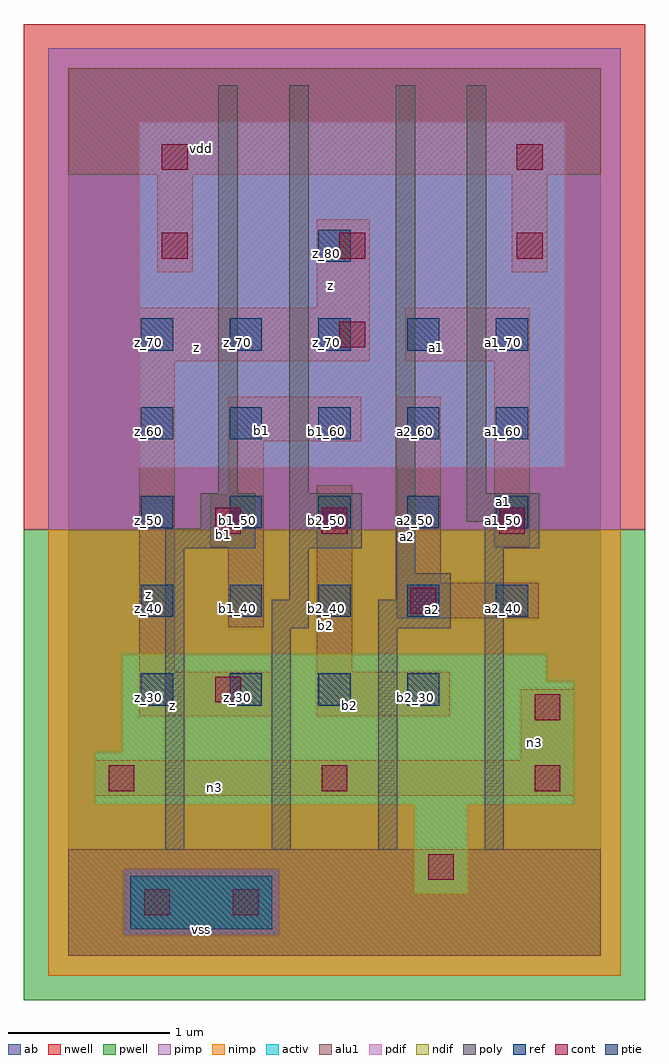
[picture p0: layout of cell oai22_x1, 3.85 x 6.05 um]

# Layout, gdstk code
import gdstk
lib = gdstk.Library(unit=1e-6, precision=2.5e-09)
def R(c, l, rs):  # rectangles x0, y0, x1, y1
    for r in rs: c.add(gdstk.rectangle(r[:2], r[2:], *l))
def A(c, l, x, y, w, h, nx, ny, dx, dy):  # array of equal rectangles
    R(c, l, [(x+i*dx, y+j*dy, x+i*dx+w, y+j*dy+h) for i in range(nx) for j in range(ny)])
ndif = (3, 0)
pdif = (4, 0)
ptie = (6, 0)
ref = (24, 0)
cont = (25, 0)
pwell = (41, 0)
nwell = (42, 0)
activ = (43, 0)
pimp = (44, 0)
nimp = (45, 0)
poly = (46, 0)
alu1 = (49, 0)
ab = (63, 0)

oai22_x1 = lib.new_cell('oai22_x1')
R(oai22_x1, ndif, [(2.145,0.385,2.475,0.935), (0.165,0.935,3.135,1.265), (0.33,1.265,3.135,1.705), (0.33,1.705,2.97,1.87)])
R(oai22_x1, pdif, [(0.44,3.025,3.08,5.17)])
R(oai22_x1, ptie, [(0.385,0.165,1.265,0.495)])
A(oai22_x1, ref, 0.45, 1.55, 0.2, 0.2, 4, 1, 0.55, 0)
A(oai22_x1, ref, 0.45, 2.1, 0.2, 0.2, 5, 4, 0.55, 0.55)
R(oai22_x1, ref, [(1.55,4.3,1.75,4.5)])
A(oai22_x1, cont, 0.25, 1.02, 0.16, 0.16, 3, 1, 1.32, 0)
A(oai22_x1, cont, 0.58, 4.32, 0.16, 0.16, 3, 1, 1.1, 0)
R(oai22_x1, cont, [(0.47,0.25,0.63,0.41), (1.02,0.25,1.18,0.41), (2.23,0.47,2.39,0.63), (2.89,1.46,3.05,1.62), (0.91,1.57,1.07,1.73), (2.12,2.12,2.28,2.28), (0.91,2.615,1.07,2.775), (1.57,2.615,1.73,2.775), (2.67,2.615,2.83,2.775), (1.68,3.77,1.84,3.93), (0.58,4.87,0.74,5.03), (2.78,4.87,2.94,5.03)])
R(oai22_x1, pwell, [(-0.275,-0.275,3.575,2.64)])
R(oai22_x1, nwell, [(-0.275,2.64,3.575,5.775)])
R(oai22_x1, activ, [(0.385,0.165,1.265,0.495), (2.145,0.385,2.475,0.935), (0.165,0.935,3.135,1.265), (0.33,1.265,3.135,1.705), (0.33,1.705,2.97,1.87), (0.44,3.025,3.08,5.17)])
R(oai22_x1, pimp, [(0.345,0.125,1.305,0.535), (-0.125,2.64,3.425,5.625)])
R(oai22_x1, nimp, [(-0.125,-0.125,3.425,0.125), (-0.125,0.125,0.345,0.535), (1.305,0.125,3.425,0.535), (-0.125,0.535,3.425,2.64)])
R(oai22_x1, poly, [(0.6,0.655,0.72,2.525), (1.26,0.655,1.38,2.03), (1.92,0.655,2.04,2.03), (2.58,0.655,2.7,2.525), (1.26,2.03,1.49,2.205), (1.92,2.03,2.37,2.205), (1.37,2.205,1.49,2.525), (2.03,2.205,2.37,2.37), (2.03,2.37,2.15,5.395), (0.6,2.525,1.16,2.645), (1.37,2.525,1.82,2.865), (2.58,2.525,2.92,2.69), (0.82,2.645,1.16,2.865), (2.47,2.69,2.92,2.865), (0.93,2.865,1.05,5.395), (1.37,2.865,1.49,5.395), (2.47,2.865,2.59,5.395)])
R(oai22_x1, alu1, [(0,0,3.3,0.66), (0.165,0.99,3.135,1.21), (2.805,1.21,3.135,1.65), (0.44,1.485,1.265,1.76), (1.54,1.485,2.365,1.76), (0.44,1.76,0.66,3.685), (1.54,1.76,1.76,2.915), (0.99,2.035,1.21,2.53), (2.035,2.09,2.915,2.31), (2.035,2.31,2.31,3.465), (0.88,2.53,1.21,2.86), (2.64,2.53,2.86,3.685), (0.99,2.86,1.21,3.19), (0.99,3.19,1.815,3.465), (0.44,3.685,1.87,4.015), (2.09,3.685,2.86,4.015), (1.54,4.015,1.87,4.565), (0.55,4.235,0.77,4.84), (2.75,4.235,2.97,4.84), (0,4.84,3.3,5.5)])
R(oai22_x1, ab, [(0,0,3.3,5.5)])
oai22_x1.add(gdstk.Label('vss', (0.825,0.165), layer=49, texttype=0))
oai22_x1.add(gdstk.Label('n3', (0.9075,1.045), layer=49, texttype=0))
oai22_x1.add(gdstk.Label('n3', (2.8875,1.32), layer=49, texttype=0))
oai22_x1.add(gdstk.Label('b2', (1.745,1.5525), layer=49, texttype=0))
oai22_x1.add(gdstk.Label('z', (0.645,1.5525), layer=49, texttype=0))
oai22_x1.add(gdstk.Label('a2', (2.255,2.145), layer=49, texttype=0))
oai22_x1.add(gdstk.Label('a1', (2.695,2.8175), layer=49, texttype=0))
oai22_x1.add(gdstk.Label('a2', (2.1025,2.5975), layer=49, texttype=0))
oai22_x1.add(gdstk.Label('b2', (1.595,2.0475), layer=49, texttype=0))
oai22_x1.add(gdstk.Label('b1', (0.9625,2.6125), layer=49, texttype=0))
oai22_x1.add(gdstk.Label('b1', (1.195,3.2575), layer=49, texttype=0))
oai22_x1.add(gdstk.Label('z', (0.495,2.24), layer=49, texttype=0))
oai22_x1.add(gdstk.Label('a1', (2.2825,3.7675), layer=49, texttype=0))
oai22_x1.add(gdstk.Label('z', (0.7975,3.7675), layer=49, texttype=0))
oai22_x1.add(gdstk.Label('z', (1.6225,4.1525), layer=49, texttype=0))
oai22_x1.add(gdstk.Label('vdd', (0.825,5.005), layer=49, texttype=0))
oai22_x1.add(gdstk.Label('b1_60', (1.6,3.25), layer=24, texttype=0))
oai22_x1.add(gdstk.Label('a2_60', (2.15,3.25), layer=24, texttype=0))
oai22_x1.add(gdstk.Label('z_30', (1.05,1.6), layer=24, texttype=0))
oai22_x1.add(gdstk.Label('z_80', (1.6,4.35), layer=24, texttype=0))
oai22_x1.add(gdstk.Label('z_70', (0.5,3.8), layer=24, texttype=0))
oai22_x1.add(gdstk.Label('z_60', (0.5,3.25), layer=24, texttype=0))
oai22_x1.add(gdstk.Label('z_50', (0.5,2.7), layer=24, texttype=0))
oai22_x1.add(gdstk.Label('z_40', (0.5,2.15), layer=24, texttype=0))
oai22_x1.add(gdstk.Label('a1_70', (2.15,3.8), layer=24, texttype=0))
oai22_x1.add(gdstk.Label('a1_60', (2.7,3.25), layer=24, texttype=0))
oai22_x1.add(gdstk.Label('a1_50', (2.7,2.7), layer=24, texttype=0))
oai22_x1.add(gdstk.Label('a2_50', (2.15,2.7), layer=24, texttype=0))
oai22_x1.add(gdstk.Label('a2_40', (2.15,2.15), layer=24, texttype=0))
oai22_x1.add(gdstk.Label('b2_50', (1.6,2.7), layer=24, texttype=0))
oai22_x1.add(gdstk.Label('b2_40', (1.6,2.15), layer=24, texttype=0))
oai22_x1.add(gdstk.Label('b2_30', (2.15,1.6), layer=24, texttype=0))
oai22_x1.add(gdstk.Label('b1_60', (1.05,3.25), layer=24, texttype=0))
oai22_x1.add(gdstk.Label('b1_50', (1.05,2.7), layer=24, texttype=0))
oai22_x1.add(gdstk.Label('b1_40', (1.05,2.15), layer=24, texttype=0))
oai22_x1.add(gdstk.Label('a1_70', (2.7,3.8), layer=24, texttype=0))
oai22_x1.add(gdstk.Label('a2_40', (2.7,2.15), layer=24, texttype=0))
oai22_x1.add(gdstk.Label('z_70', (1.05,3.8), layer=24, texttype=0))
oai22_x1.add(gdstk.Label('z_70', (1.6,3.8), layer=24, texttype=0))
oai22_x1.add(gdstk.Label('b2_30', (1.6,1.6), layer=24, texttype=0))
oai22_x1.add(gdstk.Label('z_30', (0.5,1.6), layer=24, texttype=0))

lib.write_gds('oai22_x1.gds')
